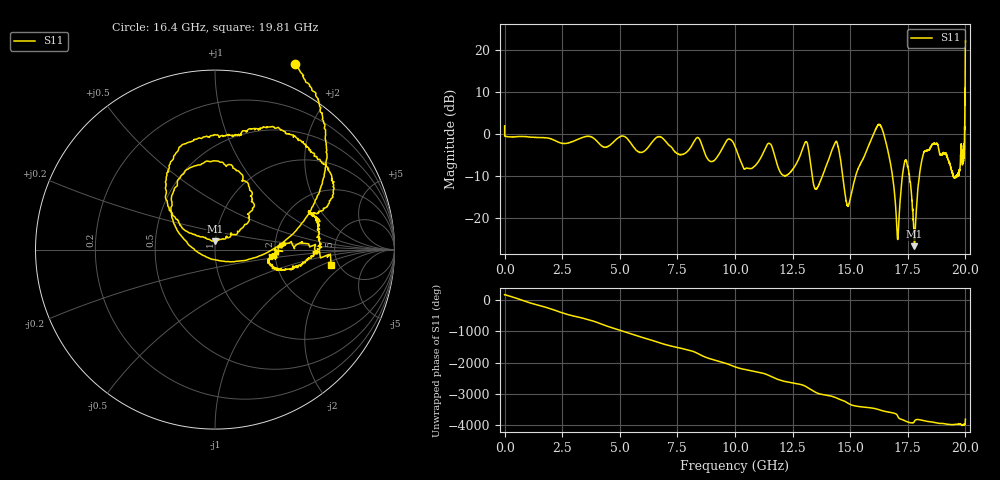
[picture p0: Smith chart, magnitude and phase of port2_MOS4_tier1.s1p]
! Created with skrf 1.8.0 (http://scikit-rf.org).
# GHz S RI R 50.0
!freq ReS11 ImS11
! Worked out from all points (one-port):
!   10001 points, 1 MHz to 20 GHz, reference 50 ohm
!   lowest |S11| = -26.6 dB at 17.79 GHz (marker M1), VSWR 1.10, Z = 49.9 + j4.66 ohm
!   |S11| at or under -10 dB: 13.35 GHz to 13.79 GHz (440.1 MHz wide, 3.24 % of centre); 14.67 GHz to 15.23 GHz (555.9 MHz wide, 3.72 % of centre); 17.57 GHz to 18 GHz (431.7 MHz wide, 2.43 % of centre) (the widest 3 of 12)
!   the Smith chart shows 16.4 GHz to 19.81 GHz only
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0.001  -1.251 0.0046
0.7189641  0.9243 0.1437
1.100945  0.0642 -0.9182
1.536923  -0.9057 -0.0634
1.9969  0.0629 0.8709
2.500875  0.5545 -0.5412
3.164842  -0.8573 -0.0813
3.680816  -0.00938 0.9331
4.028799  0.8089 0.0693
4.416779  -0.1335 -0.6865
5.00075  -0.4886 0.7908
5.438728  0.7827 0.1979
6.320684  -0.7451 0.0745
6.718664  0.1439 0.9214
7.500625  0.1759 -0.5604
8.384581  -0.109 0.9032
8.906555  0.1598 -0.4488
9.520524  -0.7056 0.2076
10.0005  0.6229 0.3561
12.50038  -0.2275 -0.3026
13.12034  -0.1701 0.78
15.00025  -0.0105 -0.1695
16.27019  -0.1177 1.279
17.05015  0.00355 -0.0577
17.50013  0.1767 0.3765
17.79011  0.00158 0.0466
19.89601  0.4011 -0.2506
20  -11.37 5.136
